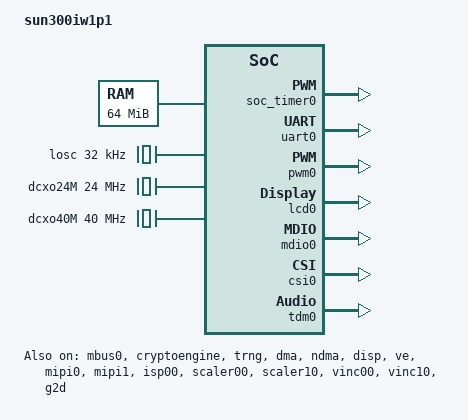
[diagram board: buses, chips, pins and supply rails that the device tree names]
// SPDX-License-Identifier: (GPL-2.0+ or MIT)
/*
 * Copyright (C) 2023 rengaomin@allwinnertech.com
 */

/memreserve/ 0x80fc0000 0x40000; /* opensbi */

#include <dt-bindings/gpio/gpio.h>
#include <dt-bindings/gpio/sun4i-gpio.h>
#include <dt-bindings/thermal/thermal.h>
#include <dt-bindings/interrupt-controller/irq.h>
#include <dt-bindings/clock/sun300iw1-aon-ccu.h>
#include <dt-bindings/clock/sun300iw1-app-ccu.h>
#include <dt-bindings/reset/sun300iw1-app-ccu.h>
#include <dt-bindings/reset/sun300iw1-prcm-ccu.h>
#include <dt-bindings/spi/sunxi-spi.h>
#include <dt-bindings/gpio/sun300iw1-share-irq-dt.h>
#include <dt-bindings/amp-timestamp/amp-timestamp-dt.h>

/ {
	model = "sun300iw1p1";
	#address-cells = <2>;
	#size-cells = <2>;

	memory {
		device_type = "memory";
		reg = <0x0 0x80000000 0x0 0x04000000>;
	};

	reserved-memory {
		#address-cells = <2>;
		#size-cells = <2>;
		ranges;

		/* global autoconfigured region for contiguous allocations */
		linux,cma {
			compatible = "shared-dma-pool";
			reusable;
			size = <0x0 0x1000000>;
			alignment = <0x0 0x2000>;
			linux,cma-default;
		};

		efuse_ram_reserved: efuse_ram@80ffff00 {
			reg = <0x0 0x80FFFF00 0x0 0x100>;
			no-map;
		};

	};

	aliases {
		serial0 = &uart0;
		serial1 = &uart1;
		serial2 = &uart2;
		serial3 = &uart3;
		twi0 = &twi0;
		twi1 = &twi1;
		twi2 = &twi2;
		gpadc0 = &gpadc0;
		spi0 = &spi0;
		spi1 = &spi1;
		spi2 = &spi2;
		spif0 = &spif0;
		gmac0 = &gmac0;
		soc_pmu0 = &soc_pmu0;
		pwm0 = &pwm0;
	};

	chosen {
		bootargs = "earlyprintk=sunxi-uart,0x42500000 loglevel=8 initcall_debug=1 console=ttyAS0 init=/init";
	};

	cpus {
		#address-cells = <1>;
		#size-cells = <0>;
		timebase-frequency = <40000000>;

		cpu0: cpu@0 {
			compatible = "riscv";
			reg = <0>;
			device_type = "cpu";
			riscv,isa = "rv32i2p0m2p0a2p0f2p0d2p0c2p0xv5-0p0";
			enable-method = "psci";
			capacity-dmips-mhz = <523>;
			i-cache-size = <0x4000>;
			i-cache-line-size = <0x40>;
			d-cache-size = <0x4000>;
			d-cache-line-size = <0x40>;
			next-level-cache = <0x1>;
			clocks = <&aon_ccu CLK_A27L2>;
			clock-latency = <2000000>;
			clock-frequency = <1080000000>;
			operating-points-v2 = <&cpu_opp_l_table>;
			#cooling-cells = <2>;
			dynamic-power-coefficient = <142>;
			status = "okay";

			cpu0_intc: interrupt-controller {
				#interrupt-cells = <0x1>;
				interrupt-controller;
				compatible = "riscv,cpu-intc";
			};
		};
	};

	cpu_opp_l_table: opp_l_table {
		compatible = "operating-points-v2";
		opp-shared;

		opp@360000000 {
			opp-hz = /bits/ 64 <360000000>;
			opp-microvolt = <900000>;
			clock-latency-ns = <244144>; /* 8 32k periods */
		};
		opp@480000000 {
			opp-hz = /bits/ 64 <480000000>;
			opp-microvolt = <900000>;
			clock-latency-ns = <244144>; /* 8 32k periods */
		};
		opp@600000000 {
			opp-hz = /bits/ 64 <600000000>;
			opp-microvolt = <900000>;
			clock-latency-ns = <244144>; /* 8 32k periods */
		};
		opp@720000000 {
			opp-hz = /bits/ 64 <720000000>;
			opp-microvolt = <900000>;
			clock-latency-ns = <244144>; /* 8 32k periods */
		};
		opp@840000000 {
			opp-hz = /bits/ 64 <840000000>;
			opp-microvolt = <900000>;
			clock-latency-ns = <244144>; /* 8 32k periods */
		};
		opp@960000000 {
			opp-hz = /bits/ 64 <960000000>;
			opp-microvolt = <900000>;
			clock-latency-ns = <244144>; /* 8 32k periods */
		};
		opp@1080000000 {
			opp-hz = /bits/ 64 <1080000000>;
			opp-microvolt = <940000>;
			clock-latency-ns = <244144>; /* 8 32k periods */
			status = "disabled";
		};
	};

	thermal-zones {
		cpu_thermal_zone: cpu_thermal_zone {
			polling-delay-passive = <500>;
			polling-delay = <1000>;
			thermal-sensors = <&ths 0>;
			sustainable-power = <68>;

			cpu_trips: trips {
				cpu_threshold: trip-point@0 {
					temperature = <70000>;
					type = "passive";
					hysteresis = <0>;
				};
				cpu_target: trip-point@1 {
					temperature = <90000>;
					type = "passive";
					hysteresis = <0>;
				};
				cpu_crit: cpu_crit@0 {
					temperature = <110000>;
					type = "critical";
					hysteresis = <0>;
				};
			};

			cooling-maps {
				map0 {
					trip = <&cpu_target>;
					cooling-device = <&cpu0
					THERMAL_NO_LIMIT
					THERMAL_NO_LIMIT>;
					contribution = <1024>;
				};
			};
		};

		ve_thermal_zone: ve_thermal_zone {
			polling-delay-passive = <1000>;
			polling-delay = <10000>;
			thermal-sensors = <&ths 1>;
		};
	};

	l2-cache@49000000 {
		compatible = "cache";
		reg = <0x0 0x49000000 0x0 0x300>;
		cache-level = <0x2>;
		cache-size = <0x20000>;
		andes,inst-prefetch = <0x3>;
		andes,data-prefetch = <0x3>;
		andes,tag-ram-ctl = <0x0 0x0>;
		andes,data-ram-ctl = <0x0 0x0>;
	};

	/* This is a virtual clk, for gpio use only */
	losc: losc_clk {
		#clock-cells = <0>;
		compatible = "fixed-clock";
		clock-frequency = <32000>;
		clock-output-names = "losc";
	};

	dcxo24M: dcxo24M_clk {
		#clock-cells = <0>;
		compatible = "fixed-clock";
		clock-frequency = <24000000>;
		clock-output-names = "dcxo24M";
	};

	dcxo40M: dcxo40M_clk {
		#clock-cells = <0>;
		compatible = "fixed-clock";
		clock-frequency = <40000000>;
		clock-output-names = "dcxo40M";
	};

	mbus0: mbus-controller@43102000 {
		compatible = "allwinner,generic-mbus";
		reg = <0x0 0x43102000 0x0 0x1000>;
		#mbus-cells = <1>;
		status = "okay";
		master_pmu_names = "pmu_cpuddr", "pmu_riscv_sys", "pmu_mahb_ddr",
		"pmu_dma_ddr", "pmu_ve_ddr", "pmu_csi_ddr", "pmu_isp_sys",
		"pmu_g2d_ddr", "pmu_de_ddr", "pmu_othddr", "pmu_totddr";
		master_pmu_idxs =<0 1 2 3 5 7 8 9 10 14 15>;
		master_port_idxs = <0 2 3 4 11 12 13 16 23 39>;
	};

	soc: soc@2002000 {
		compatible = "simple-bus";
		#address-cells = <2>;
		#size-cells = <2>;
		ranges;
		device_type = "soc";

		plic0: interrupt-controller@48000000 {
			compatible = "riscv,plic0";
			#address-cells = <0x2>;
			#interrupt-cells = <0x2>;
			interrupt-controller;
			reg = <0x0 0x48000000 0x0 0x400000>;
			riscv,ndev = <0xBB>;
			//interrupts-extended = <0x2 0xb 0x2 0x9>;
			interrupts-extended = <&cpu0_intc 0xb &cpu0_intc 0x9>;
		};

		aon_ccu: aon_ccu@4a010000{
			compatible = "allwinner,sun300iw1-aon-ccu";
			reg = <0x0 0x4a010000 0x0 0x600>;
			#clock-cells = <1>;
			#reset-cells = <1>;
			/*
			* for example:
			* sdm_info: sdm_info {
			* 	pll-video-4x {
			*      		sdm-enable = <1>; // required
			*      		sdm-factor = <4>; // required
			*      		freq-mod   = <TR_N>; // optional: default TR_N
			*      		sdm-freq   = <FREQ_32>; // optional: default FREQ_31_5
			* 	};
			* };
			*/
		};

		ccu: ccu@42001000{
			compatible = "allwinner,sun300iw1-app-ccu";
			reg = <0x0 0x42001000 0x0 0x100>;
			#clock-cells = <1>;
			#reset-cells = <1>;
		};

		prcm_ccu: prcm_ccu@4a000000{
			compatible = "allwinner,sun300iw1-prcm-ccu";
			reg = <0x0 0x4a000000 0x0 0x40>;
			sysrtc_reg = <0x0 0x4a000c00 0x0 0x10>;
			clocks = <&aon_ccu CLK_DCXO>;
			clock-names = "hosc";
			extern_32k = "disabled";
			extern_fre = <32768>;
			#clock-cells = <1>;
			#reset-cells = <1>;
		};

		soc_timer0: timer@43008000 {
			compatible = "allwinner,hstimer-v100";
			device_type = "soc_timer";
			reg = <0x0 0x43008000 0x0 0x400>;
			interrupts-extended = <&plic0 56 IRQ_TYPE_LEVEL_HIGH>;
			clocks = <&dcxo24M>, <&ccu CLK_HSTIMER>;
			clock-names = "parent", "bus";
			resets = <&ccu RST_BUS_HSTIMER>;
		};

		pio: pinctrl@42000000 {
			compatible = "allwinner,sun300iw1-pinctrl";
			reg = <0x0 0x42000000 0x0 0x500>;
			interrupts-extended = <&plic0 68 IRQ_TYPE_LEVEL_HIGH>,
				   <&plic0 72 IRQ_TYPE_LEVEL_HIGH>,
				   <&plic0 74 IRQ_TYPE_LEVEL_HIGH>;
			clocks = <&aon_ccu CLK_APB0>, <&aon_ccu CLK_DCXO>,  <&losc>;
			clock-names = "apb", "hosc", "losc";
			device_type = "pio";
			gpio-controller;
			interrupt-controller;
			#interrupt-cells = <3>;
			#address-cells = <0>;
			#gpio-cells = <3>;

			sdc0_pins_a: sdc0@0 {
				pins = "PC0", "PC1", "PC2",
						"PC3", "PC4", "PC5";
				function = "sdc0";
				allwinner,drive = <3>;
				bias-pull-up;
			};

			sdc0_pins_b: sdc0@1 {
				pins = "PC0", "PC1", "PC2",
						"PC3", "PC4", "PC5";
				function = "sdc0";
				allwinner,drive = <3>;
				bias-pull-up;
			};

			sdc0_pins_c: sdc0@2 {
				pins = "PC0", "PC1", "PC2",
						"PC3", "PC4", "PC5";
				function = "gpio_in";
			};

			sdc1_pins_a: sdc1@0 {
				pins = "PD1", "PD2", "PD3",
						"PD4", "PD5", "PD6";
				function = "sdc1";
				allwinner,drive = <3>;
				bias-pull-up;
			};

			sdc1_pins_b: sdc1@1 {
				pins = "PD1", "PD2", "PD3",
						"PD4", "PD5", "PD6";
				function = "gpio_in";
			};

			csi_mclk0_pins_a: csi_mclk0@0 {
				pins = "PA1";
				function = "mipi";
				allwinner,drive = <0>;
			};

			csi_mclk0_pins_b: csi_mclk0@1 {
				pins = "PA1";
				function = "gpio_in";
			};

			csi_mclk1_pins_a: csi_mclk1@0 {
				pins = "PA2";
				function = "mipi";
				allwinner,drive = <0>;
			};

			csi_mclk1_pins_b: csi_mclk1@1 {
				pins = "PA2";
				function = "gpio_in";
			};

			ncsi_bt656_pins_a: ncsi_BT656@0 {
				pins = "PD1", "PD3", "PD4",
				"PD5", "PD6", "PD7", "PD8",
				"PD9", "PD10", "PD11", "PD12";
				function = "ncsi";
				allwinner,drive = <0>;
			};

			ncsi_bt656_pins_b: ncsi_BT656@1 {
				pins = "PD1", "PD3", "PD4",
				"PD5", "PD6", "PD7", "PD8",
				"PD9", "PD10", "PD11", "PD12";
				function = "gpio_in";
			};

			ncsi_bt1120_pins_a: ncsi_BT1120@0 {
				pins = "PD1", "PD3", "PD4",
				"PD5", "PD6", "PD7", "PD8",
				"PD9", "PD10", "PD11", "PD12",
				"PD13", "PD14", "PD15", "PD16",
				"PD17", "PD18", "PD19", "PD20";
				function = "ncsi";
				allwinner,drive = <0>;
			};

			ncsi_bt1120_pins_b: ncsi_BT1120@1 {
				pins = "PD1", "PD3", "PD4",
				"PD5", "PD6", "PD7", "PD8",
				"PD9", "PD10", "PD11", "PD12",
				"PD13", "PD14", "PD15", "PD16",
				"PD17", "PD18", "PD19", "PD20";
				function = "gpio_in";
			};

			mipia_pins_a: mipia@0 {
				pins = "PA5", "PA6", "PA7",
					"PA8";
				function = "mipia";
				allwinner,drive = <0>;

			};

			mipia_pins_b: mipia@1 {
				pins = "PA5", "PA6", "PA7",
					"PA8";
				function = "gpio_in";
			};

			mipib_pins_a: mipib@0 {
				pins = "PA11", "PA12", "PA9",
					"PA10";
				function = "mipib";
				allwinner,drive = <0>;
			};

			mipib_pins_b: mipib@1 {
				pins = "PA11", "PA12", "PA9",
					"PA10";
				function = "gpio_in";

			};

			mipib_2lane_pins_a: mipib_2lane@0 {
				pins = "PA11", "PA12", "PA9",
					"PA10";
				function = "mipib";
				allwinner,drive = <0>;
			};

			mipib_2lane_pins_b: mipib_2lane@1 {
				pins = "PA11", "PA12", "PA9",
					"PA10";
				function = "gpio_in";
			};

			test_pins_a: test_pins@0 {
				pins = "PC12", "PC13";
				function = "test";
				allwinner,drive = <0>;
				bias-pull-up;
			};

			test_pins_b: test_pins@1 {
				pins = "PC12", "PC13";
				function = "gpio_in";
			};

			rgb8_pins_a: serial_rgb@0 {
				pins = "PD1", "PD2", "PD3", "PD4",
					"PD5", "PD6", "PD7", "PD8";
				function = "lcd";
				allwinner,drive = <1>;
			};

			rgb8_pins_b: serial_rgb@1 {
				pins = "PD1", "PD2", "PD3", "PD4",
					"PD5", "PD6", "PD7", "PD8";
				function = "io_disabled";
			};

			rgb8_pins_ctl_a: serial_rgb_ctl@0 {
				pins = "PD9", "PD10", "PD11", "PD12";
				function = "lcds_ctl";
				allwinner,drive = <1>;
			};

			rgb8_pins_ctl_b: serial_rgb_ctl@1 {
				pins = "PD9", "PD10", "PD11", "PD12";
				function = "io_disabled";
			};
		};

		rtc_pio: pinctrl@42000540 {
			#address-cells = <1>;
			compatible = "allwinner,sun300iw1-rtc-pinctrl";
			reg = <0x0 0x42000540 0x0 0x100>;
			interrupts-extended = <&plic0 84 IRQ_TYPE_LEVEL_HIGH>; /* GPIOL */
			clocks = <&dcxo24M>;
			clock-names = "hosc";
			gpio-controller;
			#gpio-cells = <3>;
			interrupt-controller;
			#interrupt-cells = <3>;
		};

		ircut:ircut@42000358 {
			compatible = "allwinner,sun300iw1-ircut";
			reg = <0x0 0x42000358 0x0 0x0004>;
			reg-names = "ircut";
		};

		pinctrl_test: pinctrl_test@0 {
			reg = <0x0 0x0 0x0 0x0>;
			compatible = "allwinner,sunxi-pinctrl-test";
			device_type = "pinctrl-test";
			/* For pin state selecting test */
			pinctrl-0 = <&test_pins_a>;
			pinctrl-1 = <&test_pins_b>;
			pinctrl-names = "default", "sleep";
			/* For pin basic_function/irq test */
			test-gpios = <&pio PC 14 GPIO_ACTIVE_LOW>;
			suspend-gpios = <&pio PC 16 GPIO_ACTIVE_LOW>;  /* PA 0 0=in/1=out drive pull level */
			wakeup-source;
			interrupt-parent = <&pio>;
			interrupts = <PA 0 IRQ_TYPE_LEVEL_HIGH>;
		};

		dump_reg:dump_reg@2000000 {
			compatible = "allwinner,sunxi-dump-reg";
			reg = <0x0 0x0002000000 0x0 0x0004>;
		};

		uart0: uart@42500000 {
			compatible = "allwinner,uart-v100";
			device_type = "uart0";
			reg = <0x0 0x42500000 0x0 0x400>;
			interrupts-extended = <&plic0 3 IRQ_TYPE_LEVEL_HIGH>;
			sunxi,uart-fifosize = <64>;
			clocks = <&ccu CLK_UART0>;
			resets = <&ccu RST_BUS_UART0>;
			uart0_port = <0>;
			uart0_type = <2>;
			status = "okay";
		};

		uart1: uart@42500400 {
			compatible = "allwinner,uart-v100";
			device_type = "uart1";
			reg = <0x0 0x42500400 0x0 0x400>;
			interrupts-extended = <&plic0 4 IRQ_TYPE_LEVEL_HIGH>;
			sunxi,uart-fifosize = <128>;
			clocks = <&ccu CLK_UART1>;
			resets = <&ccu RST_BUS_UART1>;
			uart1_port = <1>;
			uart1_type = <4>;
			status = "disabled";
		};

		uart2: uart@42500800 {
			compatible = "allwinner,uart-v100";
			device_type = "uart2";
			reg = <0x0 0x42500800 0x0 0x400>;
			interrupts-extended = <&plic0 5 IRQ_TYPE_LEVEL_HIGH>;
			sunxi,uart-fifosize = <128>;
			clocks = <&ccu CLK_UART2>;
			resets = <&ccu RST_BUS_UART2>;
			uart2_port = <2>;
			uart2_type = <4>;
			status = "disabled";
		};

		uart3: uart@42500c00 {
			compatible = "allwinner,uart-v100";
			device_type = "uart3";
			reg = <0x0 0x42500c00 0x0 0x400>;
			interrupts-extended = <&plic0 6 IRQ_TYPE_LEVEL_HIGH>;
			sunxi,uart-fifosize = <128>;
			clocks = <&ccu CLK_UART3>;
			resets = <&ccu RST_BUS_UART3>;
			uart3_port = <3>;
			uart3_type = <4>;
			status = "disabled";
		};

		sid@43006000 {
			compatible = "allwinner,sunxi-sid";
			reg = <0x0 0x43006000 0 0x1000>;
			#address-cells = <1>;
			#size-cells = <1>;
			non-secure-maxoffset = <0xFF>;
			non-secure-maxlen = <0x61>;
			memory-region = <&efuse_ram_reserved>;

			secure_status {
				reg = <0x0 0>;
				offset = <0x24c>;
				size = <0x20>;
			};
			chipid {
				reg = <0x0 0>;
				offset = <0x200>;
				size = <0x10>;
			};
			rotpk {
				reg = <0x0 0>;
				offset = <0x140>;
				size = <0x20>;
			};
			ft_cp {
				reg = <0x0 0>;
				offset = <0x23C>;
				size = <0x4>;
			};
		};

		sram_ctrl: sram_ctrl@43000000 {
			compatible = "allwinner,sram_ctrl";
			reg = <0x0 0x43000000 0 0x184>;
			soc_ver {
				offset = <0x24>;
				mask = <0x7>;
				shift = <0>;
			};
		};

		ths: ths@42009400 {
			compatible = "allwinner,sun300iw1p1-ths";
			reg = <0x0 0x42009400 0x0 0x400>;
			clocks = <&ccu CLK_BUS_THS>,<&ccu CLK_GPADC0_24M>;
			clock-names = "bus","gpadc";
			resets = <&ccu RST_BUS_THS>;
			#thermal-sensor-cells = <1>;
		};

		cryptoengine: ce@43044000 {
			compatible = "allwinner,sunxi-ce";
			device_name = "ce";
			reg = <0x0 0x43044000 0x0 0x1000>;
			interrupts-extended = <&plic0 39 IRQ_TYPE_EDGE_RISING>;
			//clock-frequency = <200000000>; /* 200MHz */
			clocks = <&ccu CLK_CE>, <&ccu CLK_SS>;
			clock-names = "bus_ce", "ce_clk";
			resets = <&ccu RST_BUS_CE>;
			dmas = <&dma 53>, <&dma 53>;
			dma-names = "tx", "rx";
			status = "okay";
		};

		trng: trng@42059000 {
			compatible = "allwinner,sunxi-trng";
			device_name = "trng";
			reg = <0x0 0x42059000 0x0 0x50>;
			clocks = <&ccu CLK_TRNG>;
			clock-names = "trng_clk";
			resets = <&ccu RST_BUS_TRNG>;
			status = "okay";
		};

		dma:dma-controller@43002000 {
			compatible = "allwinner,dma-v108";
			reg = <0x0 0x43002000 0x0 0x1000>;
			interrupts-extended = <&plic0 51 IRQ_TYPE_LEVEL_HIGH>;
			clocks = <&ccu CLK_SG_DMA>, <&ccu CLK_SGDMA>, <&ccu CLK_MBUS_DMA>;
			clock-names = "bus", "mbus-en", "mbus";
			dma-channels = <4>;
			dma-requests = <54>;
			resets = <&ccu RST_BUS_SGDMA>;
			#dma-cells = <1>;
			status = "okay";
		};

		ndma:ndma-controller@43001000 {
			compatible = "allwinner,ndma-v100";
			reg = <0x0 0x43001000 0x0 0x1000>;
			interrupts-extended = <&plic0 38 IRQ_TYPE_LEVEL_HIGH>;
			clocks = <&ccu CLK_DMA>;
			clock-names = "bus";
			dma-channels = <8>;
			dma-requests = <54>;
			resets = <&ccu RST_BUS_DMA>;
			#dma-cells = <1>;
			status = "okay";
		};

		wdt: watchdog@4a001000 {
			compatible = "allwinner,wdt-v105";
			reg = <0x0 0x4a001000 0x0 0x20>;
			resets = <&prcm_ccu RST_RTC_WDG>;
		};

		pwm0: pwm@42000c00 {
			#pwm-cells = <0x3>;
			compatible = "allwinner,sunxi-pwm-v205";
			reg = <0x0 0x42000c00 0x0 0x400>;
			clocks = <&ccu CLK_PWM>, <&aon_ccu CLK_DCXO>;
			clock-names = "bus", "clk_hosc";
			resets = <&ccu RST_BUS_PWM>;
			interrupts-extended = <&plic0 19 IRQ_TYPE_LEVEL_HIGH>;
			pwm-number = <12>;
			pwm-base = <0x0>;
			sunxi-pwms = <&pwm0_0>, <&pwm0_1>, <&pwm0_2>, <&pwm0_3>, <&pwm0_4>,
					<&pwm0_5>, <&pwm0_6>, <&pwm0_7>, <&pwm0_8>,
					<&pwm0_9>, <&pwm0_10>, <&pwm0_11>;
			status = "okay";
		};

		pwm0_0: pwm0@42000c10 {
			compatible = "allwinner,sunxi-pwm0";
			pinctrl-names = "active", "sleep";
			reg = <0x0 0x42000c10 0x0 0x4>;
			reg_base = <0x42000c00>;
			status = "disabled";
		};

		pwm0_1: pwm0@42000c11 {
			compatible = "allwinner,sunxi-pwm1";
			pinctrl-names = "active", "sleep";
			reg = <0x0 0x42000c11 0x0 0x4>;
			reg_base = <0x42000c00>;
			status = "disabled";
		};

		pwm0_2: pwm0@42000c12 {
			compatible = "allwinner,sunxi-pwm2";
			pinctrl-names = "active", "sleep";
			reg = <0x0 0x42000c12 0x0 0x4>;
			reg_base = <0x42000c00>;
			status = "disabled";
		};

		pwm0_3: pwm0@42000c13 {
			compatible = "allwinner,sunxi-pwm3";
			pinctrl-names = "active", "sleep";
			reg = <0x0 0x42000c13 0x0 0x4>;
			reg_base = <0x42000c00>;
			status = "disabled";
		};

		pwm0_4: pwm0@42000c14 {
			compatible = "allwinner,sunxi-pwm4";
			pinctrl-names = "active", "sleep";
			reg = <0x0 0x42000c14 0x0 0x4>;
			reg_base = <0x42000c00>;
			status = "disabled";
		};

		pwm0_5: pwm0@42000c15 {
			compatible = "allwinner,sunxi-pwm5";
			pinctrl-names = "active", "sleep";
			reg = <0x0 0x42000c15 0x0 0x4>;
			reg_base = <0x42000c00>;
			status = "disabled";
		};

		pwm0_6: pwm0@42000c16 {
			compatible = "allwinner,sunxi-pwm6";
			pinctrl-names = "active", "sleep";
			reg = <0x0 0x42000c16 0x0 0x4>;
			reg_base = <0x42000c00>;
			status = "disabled";
		};

		pwm0_7: pwm0@42000c17 {
			compatible = "allwinner,sunxi-pwm7";
			pinctrl-names = "active", "sleep";
			reg = <0x0 0x42000c17 0x0 0x4>;
			reg_base = <0x42000c00>;
			status = "disabled";
		};

		pwm0_8: pwm0@42000c18 {
			compatible = "allwinner,sunxi-pwm8";
			pinctrl-names = "active", "sleep";
			reg = <0x0 0x42000c18 0x0 0x4>;
			reg_base = <0x42000c00>;
			status = "disabled";
		};

		pwm0_9: pwm0@42000c19 {
			compatible = "allwinner,sunxi-pwm9";
			pinctrl-names = "active", "sleep";
			reg = <0x0 0x42000c19 0x0 0x4>;
			reg_base = <0x42000c00>;
			status = "disabled";
		};

		pwm0_10: pwm0@42000c1a {
			compatible = "allwinner,sunxi-pwm10";
			pinctrl-names = "active", "sleep";
			reg = <0x0 0x42000c1a 0x0 0x4>;
			reg_base = <0x42000c00>;
			status = "disabled";
		};

		pwm0_11: pwm0@42000c1b {
			compatible = "allwinner,sunxi-pwm11";
			pinctrl-names = "active", "sleep";
			reg = <0x0 0x42000c1b 0x0 0x4>;
			reg_base = <0x42000c00>;
			status = "disabled";
		};

		amp_ts0: amp_ts@43032000 {
			compatible = "sunxi,amp_timestamp";
			reg = <0x0 0x43032000 0x0 0x1000>;
			id = <0>;
			counter_type = <THEAD_RISCV_ARCH_COUNTER_TYPE>;
			clocks = <&aon_ccu CLK_DCXO>;
			clock-names = "ts_clk";
			status = "disabled";
		};

		mailbox_test: mailbox_test@0 {
			compatible = "mailbox-test";
			mboxes = <&msgbox 3>; /* e907 channel3 */
			mbox-names = "tx|rx";
			status = "disabled";
		};

		/*
		 * channel0~3  : e907 -> a27
		 */
		msgbox: msgbox@43033000 {
			compatible = "allwinner,sun300iw1-msgbox";
			#mbox-cells = <1>;
			reg = <0x0 0x43033000 0x0 0x1000>,
				<0x0 0x49102000 0x0 0x1000>;
			interrupts-extended = <&plic0 130 IRQ_TYPE_LEVEL_HIGH>,
						<&plic0 123 IRQ_TYPE_LEVEL_HIGH>;
			clocks = <&ccu CLK_A27_MSGBOX>;
			clock-names = "msgbox";
			resets = <&ccu RST_BUS_A27_MSGBOX>;
			reset-names = "rst";
			local_id = <1>;
			status = "disabled";
		};

		hwspinlock: hwspinlock@43005000 {
			compatible = "allwinner,sunxi-hwspinlock";
			reg = <0x0 0x43005000 0x0 0x1000>;
			interrupts-extended = <&plic0 55 IRQ_TYPE_LEVEL_HIGH>;
			#hwlock-cells = <1>;
			clocks = <&ccu CLK_SPLOCK>;
			clock-names = "clk_hwspinlock_bus";
			resets = <&ccu RST_BUS_SPLOCK>;
			reset-names = "rst";
			num-locks = <32>;
			status = "disabled";
		};

		twi0: twi0@42502000 {
			compatible = "allwinner,sunxi-twi-v101";
			device_type = "twi0";
			reg = <0x0 0x42502000 0x0 0x400>;
			interrupts-extended = <&plic0 10 IRQ_TYPE_LEVEL_HIGH>;
			clocks = <&ccu CLK_TWI0>, <&aon_ccu CLK_APB_SPC>;
			clock-names = "bus", "apb";
			resets = <&ccu RST_BUS_TWI0>;
			dmas = <&dma 43>, <&dma 43>;
			dma-names = "tx", "rx";
			status = "disabled";
		};

		twi1: twi1@42502400 {
			compatible = "allwinner,sunxi-twi-v101";
			device_type = "twi1";
			reg = <0x0 0x42502400 0x0 0x400>;
			interrupts-extended = <&plic0 11 IRQ_TYPE_LEVEL_HIGH>;
			clocks = <&ccu CLK_TWI1>, <&aon_ccu CLK_APB_SPC>;
			clock-names = "bus", "apb";
			resets = <&ccu RST_BUS_TWI1>;
			dmas = <&dma 44>, <&dma 44>;
			dma-names = "tx", "rx";
			status = "disabled";
		};

		twi2: twi2@42502800 {
			compatible = "allwinner,sunxi-twi-v101";
			device_type = "twi2";
			reg = <0x0 0x42502800 0x0 0x400>;
			interrupts-extended = <&plic0 12 IRQ_TYPE_LEVEL_HIGH>;
			clocks = <&ccu CLK_TWI2>, <&aon_ccu CLK_APB_SPC>;
			clock-names = "bus", "apb";
			resets = <&ccu RST_BUS_TWI2>;
			dmas = <&dma 45>, <&dma 45>;
			dma-names = "tx", "rx";
			status = "disabled";
		};

		spi0: spi@44025000 {
			#address-cells = <1>;
			#size-cells = <0>;
			compatible = "allwinner,sunxi-spi-v1.1";
			reg = <0x0 0x44025000 0x0 0x1000>;
			interrupts-extended = <&plic0 16 IRQ_TYPE_LEVEL_HIGH>;
			clocks = <&aon_ccu CLK_PLL_PERI_CKO_307M>, <&ccu CLK_SPI>, <&ccu CLK_BUS_SPI>;
			clock-names = "pll", "mod", "bus";
			resets = <&ccu RST_BUS_SPI>;
			dmas = <&dma 22>, <&dma 22>;
			dma-names = "tx", "rx";
			clock-frequency = <100000000>;
			sunxi,spi-num-cs = <1>;
			status = "disabled";
		};

		spi1: spi@44026000 {
			#address-cells = <1>;
			#size-cells = <0>;
			compatible = "allwinner,sunxi-spi-v1.2";
			reg = <0x0 0x44026000 0x0 0x1000>;
			interrupts-extended = <&plic0 17 IRQ_TYPE_LEVEL_HIGH>;
			clocks = <&aon_ccu CLK_PLL_PERI_CKO_307M>, <&ccu CLK_SPI1>, <&ccu CLK_BUS_SPI1>;
			clock-names = "pll", "mod", "bus";
			resets = <&ccu RST_BUS_SPI1>;
			dmas = <&dma 23>, <&dma 23>;
			dma-names = "tx", "rx";
			clock-frequency = <100000000>;
			sunxi,spi-num-cs = <2>;
			status = "disabled";
		};

		spi2: spi@44027000 {
			#address-cells = <1>;
			#size-cells = <0>;
			compatible = "allwinner,sunxi-spi-v1.5";
			reg = <0x0 0x44027000 0x0 0x1000>;
			interrupts-extended = <&plic0 18 IRQ_TYPE_LEVEL_HIGH>;
			clocks = <&aon_ccu CLK_PLL_PERI_CKO_307M>, <&ccu CLK_SPI2>, <&ccu CLK_BUS_SPI2>, <&aon_ccu CLK_AHB>;
			clock-names = "pll", "mod", "bus", "ahb";
			resets = <&ccu RST_BUS_SPI2>;
			dmas = <&dma 24>, <&dma 24>;
			dma-names = "tx", "rx";
			clock-frequency = <100000000>;
			sunxi,spi-num-cs = <1>;
			status = "disabled";
		};

		spif0: spif@44f00000 {
			#address-cells = <1>;
			#size-cells = <0>;
			compatible = "allwinner,sun300i-spif";
			device_type = "spif";
			reg = <0x0 0x44f00000 0x0 0x1000>;
			interrupts-extended = <&plic0 20 IRQ_TYPE_LEVEL_HIGH>;
			clocks = <&aon_ccu CLK_PLL_PERI_CKO_384M>, <&ccu CLK_SPIF>, <&ccu CLK_BUS_SPIF>;
			clock-names = "pclk", "mclk", "bus";
			resets = <&ccu RST_BUS_SPIF>;
			status = "disabled";
		};

		sdc0: sdmmc@44020000 {
			compatible = "allwinner,sunxi-mmc-v5p3x";
			device_type = "sdc0";
			reg = <0x0 0x44020000 0x0 0x1000>;
			interrupts-extended = <&plic0 41 IRQ_TYPE_LEVEL_HIGH>;
			clocks = <&aon_ccu CLK_DCXO>,
				<&aon_ccu CLK_PLL_PERI_CKO_192M>,
				<&aon_ccu CLK_PLL_PERI_CKO_219M>,
				<&ccu CLK_SMHC0>,
				<&ccu CLK_BUS_SMHC0>,
				<&ccu CLK_MBUS_SMHC0>;
			clock-names = "osc24m","pll_periph","pll_periph_2","mmc","ahb","mmc_mbus";
			resets = <&ccu RST_BUS_SMHC0>;
			reset-names = "rst";
			pinctrl-names = "default","mmc_1v8","sleep";
			pinctrl-0 = <&sdc0_pins_a>;
			pinctrl-1 = <&sdc0_pins_b>;
			pinctrl-2 = <&sdc0_pins_c>;
			/*pinctrl-3 = <&sdc0_pins_d &sdc0_pins_e>;*/
			max-frequency = <50000000>;
			bus-width = <4>;
			req-page-count = <2>;
			/*non-removable;*/
			/*broken-cd;*/
			/*cd-inverted*/
			/*cd-gpios = <&pio PF 6 GPIO_ACTIVE_LOW>;*/
			/* vmmc-supply = <&reg_3p3v>;*/
			/* vqmc-supply = <&reg_3p3v>;*/
			/* vdmc-supply = <&reg_3p3v>;*/
			/*vmmc = "vcc-card";*/
			/*vqmc = "";*/
			/*vdmc = "";*/
			cap-sd-highspeed;
			cap-wait-while-busy;
			/*sd-uhs-sdr50;*/
			/*sd-uhs-ddr50;*/
			/*cap-sdio-irq;*/
			/*keep-power-in-suspend;*/
			/*ignore-pm-notify;*/
			/*sunxi-power-save-mode;*/
			/*sunxi-dly-400k = <1 0 0 0>; */
			/*sunxi-dly-26M  = <1 0 0 0>;*/
			/*sunxi-dly-52M  = <1 0 0 0>;*/
			/*sunxi-dly-52M-ddr4  = <1 0 0 0>;*/
			/*sunxi-dly-52M-ddr8  = <1 0 0 0>;*/
			/*sunxi-dly-104M  = <1 0 0 0>;*/
			/*sunxi-dly-208M  = <1 0 0 0>;*/
			/*sunxi-dly-104M-ddr  = <1 0 0 0>;*/
			/*sunxi-dly-208M-ddr  = <1 0 0 0>;*/
			ctl-spec-caps = <0x428>;
			status = "disabled";
		};

		sdc1: sdmmc@44021000 {
			compatible = "allwinner,sunxi-mmc-v5p3x";
			device_type = "sdc1";
			reg = <0x0 0x44021000 0x0 0x1000>;
			interrupts-extended = <&plic0 42 IRQ_TYPE_LEVEL_HIGH>;
			clocks = <&aon_ccu CLK_DCXO>,
				<&aon_ccu CLK_PLL_PERI_CKO_192M>,
				<&aon_ccu CLK_PLL_PERI_CKO_219M>,
				<&ccu CLK_SMHC1>,
				<&ccu CLK_BUS_SMHC1>,
				<&ccu CLK_MBUS_SMHC1>;
			clock-names = "osc24m","pll_periph","pll_periph_2","mmc","ahb","mmc_mbus";
			resets = <&ccu RST_BUS_SMHC1>;
			reset-names = "rst";
			pinctrl-names = "default","sleep";
			pinctrl-0 = <&sdc1_pins_a>;
			pinctrl-1 = <&sdc1_pins_b>;
			max-frequency = <50000000>;
			bus-width = <4>;
			/*broken-cd;*/
			/*cd-inverted*/
			/*cd-gpios = <&pio PG 6 6 1 2 0>;*/
			/* vmmc-supply = <&reg_3p3v>;*/
			/* vqmc-supply = <&reg_3p3v>;*/
			/* vdmc-supply = <&reg_3p3v>;*/
			/*vmmc = "vcc-card";*/
			/*vqmc = "";*/
			/*vdmc = "";*/
			cap-sd-highspeed;
			cap-sdio-irq;
			ignore-pm-notify;
			/*sd-uhs-sdr50;*/
			/*sd-uhs-ddr50;*/
			/*sd-uhs-sdr104;*/
			/*cap-sdio-irq;*/
			keep-power-in-suspend;
			/*ignore-pm-notify;*/
			/*sunxi-power-save-mode;*/
			/*sunxi-dly-400k = <0xff 0xff 0xff 0xff 0xff 0xff>; */
			/*sunxi-dly-26M  = <0xff 0xff 0xff 0xff 0xff 0xff>;*/
			/*sunxi-dly-52M  = <0xff 0xff 0xff 0xff 0xff 0xff>;*/
			/*sunxi-dly-52M-ddr4  = <0xff 0xff 0xff 0xff 0xff 0xff>;*/
			/*sunxi-dly-52M-ddr8  = <0xff 0xff 0xff 0xff 0xff 0xff>;*/
			/*sunxi-dly-104M  = <0xff 0xff 0xff 0xff 0xff 0xff>;*/
			/*sunxi-dly-208M  = <0xff 0xff 0xff 0xff 0xff 0xff> ;*/
			/*sunxi-dly-104M-ddr  = <0xff 0xff 0xff 0xff 0xff 0xff>;*/
			/*sunxi-dly-208M-ddr  = <0xff 0xff 0xff 0xff 0xff 0xff>;*/
			sunxi-dly-208M  = <0xff 0x1 0xff 0xff 0xff 0xff>;
			ctl-spec-caps = <0x428>;
			status = "disabled";
		};

		rtc: rtc@4a000c00 {
			compatible = "allwinner,rtc-v203";
			device_type = "rtc";
			wakeup-source;
			reg = <0x0 0x4a000c00 0x0 0x3ff>;
			interrupts-extended = <&plic0 167 IRQ_TYPE_LEVEL_HIGH>;
			clocks = <&ccu CLK_RTC_APB>;
			clock-names = "r-ahb-rtc";
			gpr_cur_pos = <6>;
			gpr_bootcount_pos = <7>;
			gprcm_reg = <0x0 0x4a000000 0x0 0x20>;
		};

		gpadc0: gpadc0@42009000 {
			compatible = "allwinner,sunxi-gpadc-v104";
			reg = <0x0 0x42009000 0x0 0x400>;
			interrupts-extended = <&plic0 58 IRQ_TYPE_LEVEL_HIGH>;
			clocks = <&ccu CLK_GPA>, <&ccu CLK_GPADC0_24M>;
			clock-names = "bus", "hosc";
			resets = <&ccu RST_BUS_GPADC>;
			reset-names = "bus";
			status = "disabled";
		};

		disp: disp@45000000 {
			compatible = "allwinner,sunxi-disp";
			reg = <0x0 0x45000000 0x0 0x00300000>,/* de */
				<0x0 0x45460000 0x0 0x1000>,/* disp sys */
				<0x0 0x45461000 0x0 0x1000>;/* tcon0 */
			interrupts-extended =
				<&plic0 88 IRQ_TYPE_LEVEL_HIGH>, /* de_irq(wb) */
				<&plic0 91 IRQ_TYPE_LEVEL_HIGH>; /* tcon0_irq */
			clocks = <&ccu CLK_DE>,
				<&ccu CLK_BUS_DE>,
				<&ccu CLK_DE_HB>,
				<&ccu CLK_VID_OUT>,
				<&ccu CLK_MBUS_VID_OUT>,
				<&ccu CLK_BUS_DPSS_TOP>,
				<&ccu CLK_TCONLCD>,
				<&ccu CLK_BUS_TCON>;
			clock-names = "clk_de0",
				"clk_bus_de0",
				"clk_de_hb",
				"clk_disp_ahb",
				"clk_disp_mbus",
				"clk_bus_dpss_top0",
				"clk_tcon0",
				"clk_bus_tcon0";
			resets = <&ccu RST_BUS_DE>,
				<&ccu RST_BUS_DPSSTOP>,
				<&ccu RST_BUS_TCONLCD>,
				<&ccu RST_BUS_TCON>;
			reset-names = "rst_bus_de0",
				"rst_bus_dpss_top0",
				"rst_bus_tcon0",
				"rst_bus_tcon_bus0";
			assigned-clocks = <&ccu CLK_DE>;
			assigned-clock-parents = <&aon_ccu CLK_PLL_VIDEO_1X>;
			assigned-clock-rates = <150000000>;
			boot_disp = <0>;
			fb_base = <0>;
			status = "okay";
		};

		lcd0: lcd0@5461000 {
			compatible = "allwinner,sunxi-lcd0";
			pinctrl-names = "active","sleep";

			status = "okay";
		};

		mdio0: mdio@44500048 {
			compatible = "allwinner,sunxi-mdio";
			#address-cells = <1>;
			#size-cells = <0>;
			reg = <0x0 0x44500048 0x0 0x8>;
			status = "okay";
		};

		gmac0: gmac@44500000 {
			compatible = "allwinner,sunxi-gmac";
			reg = <0x0 0x44500000 0x0 0x1000>,
			      <0x0 0x43000030 0x0 0x160>;
			interrupts-extended = <&plic0 47 IRQ_TYPE_LEVEL_HIGH>;
			interrupt-names = "gmacirq";
			clocks = <&ccu CLK_BUS_GMAC>, <&ccu CLK_GMAC_25M>, <&ccu CLK_HBUS_GMAC>, <&ccu CLK_MBUS_GMAC>;
			clock-names = "gmac", "phy25m", "hbus", "mbus";
			resets = <&ccu RST_BUS_GMAC>;
			/*
			 * max-mtu < tx_fifo - head_size
			 * tx_fifo: 1024 (platform-dependent)
			 * head_size: 18 (fixed)
			 */
			max-mtu = <950>;
			status = "disabled";
		};

		rt_media: rt-media@41c0e000 {
			compatible = "allwinner,rt-media";
		};

		ve: ve@41c0e000 {
			compatible = "allwinner,sunxi-cedar-ve";
			reg = <0x0 0x41c0e000 0x0 0x2000>,	/* VE */
			      <0x0 0x43000000 0x0 0x10>,	/* SYSCFG */
			      <0x0 0x45830000 0x0 0x1000>,	/* csi dma0 */
			      <0x0 0x45831000 0x0 0x1000>;	/* csi dma1 */
			interrupts-extended = <&plic0 67 IRQ_TYPE_LEVEL_HIGH>;
			clocks = <&aon_ccu CLK_PLL_PERI_CKO_768M>, <&ccu CLK_BUS_VE_AHB>,
				 <&ccu CLK_MBUS_VE>,
				 <&ccu CLK_SBUS_VE>,
				 <&ccu CLK_HBUS_VE>,
				 <&ccu CLK_VE>;
			clock-names = "pll_ve","bus_ve", "mbus_ve", "sbus_ve", "hbus_ve", "ve";
			resets = <&ccu RST_BUS_VE>;
			reset-names = "reset_ve";
			status = "okay";
		};

		vind0: vind@45800800 {
			compatible = "allwinner,sunxi-vin-media", "simple-bus";
			#address-cells = <2>;
			#size-cells = <2>;
			ranges;
			device_id = <0>;
			csi_top = <230000000>;
			csi_isp = <230000000>;
			reg = <0x0 0x45800800 0x0 0x200>,
				<0x0 0x45800000 0x0 0x800>,
				<0x0 0x45810000 0x0 0x100>;
			interrupts-extended = <&plic0 107 IRQ_TYPE_LEVEL_HIGH>;
			clocks = <&ccu CLK_MCSI>, <&aon_ccu CLK_PLL_VIDEO_4X>,
				<&ccu CLK_CSI_MASTER0>, <&aon_ccu CLK_PLL_PERI_CKO_24M>, <&aon_ccu CLK_PLL_CSI_4X>,
				<&ccu CLK_CSI_MASTER1>, <&aon_ccu CLK_PLL_PERI_CKO_24M>, <&aon_ccu CLK_PLL_CSI_4X>,
				<&ccu CLK_HBUS_MCSI>, <&ccu CLK_SBUS_MCSI>, <&ccu CLK_BUS_MISP>,
				<&ccu CLK_MCSI_AHB>, <&ccu CLK_MBUS_MCSI>, <>;
			clock-names = "csi_top", "csi_top_src",
						"csi_mclk0", "csi_mclk0_24m", "csi_mclk0_pll",
						"csi_mclk1", "csi_mclk1_24m", "csi_mclk1_pll",
						"csi_hbus", "csi_sbus", "isp_sbus",
						"csi_bus", "csi_mbus", "csi_isp_mbus";
			resets = <&ccu RST_BUS_MCSI>, <>;
			reset-names = "csi_ret", "isp_ret";
			pinctrl-names = "mclk0-default", "mclk0-sleep", "mclk1-default", "mclk1-sleep";
			pinctrl-0 = <&csi_mclk0_pins_a>;
			pinctrl-1 = <&csi_mclk0_pins_b>;
			pinctrl-2 = <&csi_mclk1_pins_a>;
			pinctrl-3 = <&csi_mclk1_pins_b>;
			//power-domains = <&p >;
			status = "okay";

			csi0: csi@45820000 {
				compatible = "allwinner,sunxi-csi";
				reg = <0x0 0x45820000 0x0 0x1000>;
				interrupts-extended = <&plic0 101 IRQ_TYPE_LEVEL_HIGH>;
				device_id = <0>;
				status = "okay";
			};
			csi1: csi@45821000 {
				compatible = "allwinner,sunxi-csi";
				reg = <0x0 0x45821000 0x0 0x1000>;
				interrupts-extended = <&plic0 102 IRQ_TYPE_LEVEL_HIGH>;
				pinctrl-names = "default","sleep";
				pinctrl-0 = <&ncsi_bt656_pins_a>;
				pinctrl-1 = <&ncsi_bt656_pins_b>;
				device_id = <1>;
				status = "disabled";
			};
			mipi0: mipi@45810100 {
				compatible = "allwinner,sunxi-mipi";
				reg = <0x0 0x45810100 0x0 0x100>,
					<0x0 0x45811000 0x0 0x400>;
				interrupts-extended = <&plic0 105 IRQ_TYPE_LEVEL_HIGH>;
				pinctrl-names = "mipi0-default","mipi0-sleep",
								"mipi1-2lane-default","mipi1-2lane-sleep";
				pinctrl-0 = <&mipia_pins_a>;
				pinctrl-1 = <&mipia_pins_b>;
				pinctrl-2 = <&mipib_2lane_pins_a>;
				pinctrl-3 = <&mipib_2lane_pins_b>;
				device_id = <0>;
				status = "okay";
			};
			mipi1: mipi@45810200 {
				compatible = "allwinner,sunxi-mipi";
				reg = <0x0 0x45810200 0x0 0x100>,
					<0x0 0x45811400 0x0 0x400>;
				pinctrl-names = "mipi1-default","mipi1-sleep";
				pinctrl-0 = <&mipib_pins_a>;
				pinctrl-1 = <&mipib_pins_b>;
				device_id = <1>;
				status = "okay";
			};
			tdm0: tdm@45908000 {
				compatible = "allwinner,sunxi-tdm";
				reg = <0x0 0x45908000 0x0 0x400>;
				interrupts-extended = <&plic0 106 IRQ_TYPE_LEVEL_HIGH>;
				work_mode = <0x0>;
				device_id = <0>;
				status = "okay";
			};
			isp00:isp@45900000 {
				compatible = "allwinner,sunxi-isp";
				reg = <0x0 0x45900000 0x0 0x1300>,
					<0x0 0x43000000 0x0 0x10>;
				interrupts-extended = <&plic0 109 IRQ_TYPE_LEVEL_HIGH>;
				work_mode = <0x0>;
				device_id = <0>;
				status = "okay";
			};
			isp01:isp@458ffffc {
				compatible = "allwinner,sunxi-isp";
				reg = <0x0 0x458ffffc 0x0 0x1304>;
				interrupts-extended = <&plic0 110 IRQ_TYPE_LEVEL_HIGH>;
				work_mode = <0xff>;
				device_id = <1>;
				status = "disabled";
			};
			isp10:isp@4 {
				compatible = "allwinner,sunxi-isp";
				device_id = <4>;
				status = "disabled";
			};
			scaler00:scaler@45910000 {
				compatible = "allwinner,sunxi-scaler";
				reg = <0x0 0x45910000 0x0 0x400>;
				interrupts-extended = <&plic0 113 IRQ_TYPE_LEVEL_HIGH>;
				work_mode = <0x0>;
				device_id = <0>;
				status = "okay";
			};
			scaler01:scaler@4590fffc {
				compatible = "allwinner,sunxi-scaler";
				reg = <0x0 0x4590fffc 0x0 0x404>;
				work_mode = <0xff>;
				device_id = <1>;
				status = "disabled";
			};
			scaler10:scaler@45910400 {
				compatible = "allwinner,sunxi-scaler";
				reg = <0x0 0x45910400 0x0 0x400>;
				interrupts-extended = <&plic0 114 IRQ_TYPE_LEVEL_HIGH>;
				work_mode = <0x0>;
				device_id = <4>;
				status = "okay";
			};
			scaler11:scaler@459103fc {
				compatible = "allwinner,sunxi-scaler";
				reg = <0x0 0x459103fc 0x0 0x404>;
				work_mode = <0xff>;
				device_id = <5>;
				status = "disabled";
			};
			actuator0: actuator@2108180 {
				compatible = "allwinner,sunxi-actuator";
				device_type = "actuator0";
				reg = <0x0 0x02108180 0x0 0x10>;
				actuator0_name = "ad5820_act";
				actuator0_slave = <0x18>;
				actuator0_af_pwdn = <>;
				actuator0_afvdd = "afvcc-csi";
				actuator0_afvdd_vol = <2800000>;
				status = "disabled";
			};
			flash0: flash@2108190 {
				device_type = "flash0";
				compatible = "allwinner,sunxi-flash";
				reg = <0x0 0x02108190 0x0 0x10>;
				flash0_type = <2>;
				flash0_en = <>;
				flash0_mode = <>;
				flash0_flvdd = "";
				flash0_flvdd_vol = <>;
				device_id = <0>;
				status = "disabled";
			};
			sensor0: sensor@5812000 {
				reg = <0x0 0x05812000 0x0 0x10>;
				device_type = "sensor0";
				compatible = "allwinner,sunxi-sensor";
				sensor0_mname = "ov5640";
				sensor0_twi_cci_id = <2>;
				sensor0_twi_addr = <0x78>;
				sensor0_mclk_id = <0>;
				sensor0_pos = "rear";
				sensor0_isp_used = <0>;
				sensor0_fmt = <0>;
				sensor0_stby_mode = <0>;
				sensor0_vflip = <0>;
				sensor0_hflip = <0>;
				sensor0_iovdd-supply = <>;
				sensor0_iovdd_vol = <>;
				sensor0_avdd-supply = <>;
				sensor0_avdd_vol = <>;
				sensor0_dvdd-supply = <>;
				sensor0_dvdd_vol = <>;
				sensor0_power_en = <>;
				sensor0_reset = <>;
				sensor0_pwdn = <>;
				sensor0_sm_vs = <>;
				flash_handle = <&flash0>;
				act_handle = <&actuator0>;
				device_id = <0>;
				status	= "disabled";
			};
			sensor1: sensor@5812010 {
				reg = <0x0 0x05812010 0x0 0x10>;
				device_type = "sensor1";
				compatible = "allwinner,sunxi-sensor";
				sensor1_mname = "ov5647";
				sensor1_twi_cci_id = <3>;
				sensor1_twi_addr = <0x6c>;
				sensor1_mclk_id = <1>;
				sensor1_pos = "front";
				sensor1_isp_used = <0>;
				sensor1_fmt = <0>;
				sensor1_stby_mode = <0>;
				sensor1_vflip = <0>;
				sensor1_hflip = <0>;
				sensor1_iovdd-supply = <>;
				sensor1_iovdd_vol = <>;
				sensor1_avdd-supply = <>;
				sensor1_avdd_vol = <>;
				sensor1_dvdd-supply = <>;
				sensor1_dvdd_vol = <>;
				sensor1_power_en = <>;
				sensor1_reset = <>;
				sensor1_pwdn = <>;
				sensor1_sm_vs = <>;
				flash_handle = <>;
				act_handle = <>;
				device_id = <1>;
				status	= "disabled";
			};
			sensor_list0:sensor_list@200b820 {
				reg = <0x0 0x0200b820 0x0 0x10>;
				device_type = "sensor_list0";
				compatible = "allwinner,sunxi-sensor-list";
				csi_sel = <0>;
				sensor00_mname = "gc5035_mipi";
				sensor00_twi_addr = <0x6c>;
				sensor00_type = <1>;
				sensor00_hflip =  <0>;
				sensor00_vflip = <0>;
				sensor00_act_used = <1>;
				sensor00_act_name = "";
				sensor00_act_twi_addr = <>;
				sensor01_mname = "ov5675_mipi";
				sensor01_twi_addr = <0x6c>;
				sensor01_type = <1>;
				sensor01_hflip =  <0>;
				sensor01_vflip = <0>;
				sensor01_act_used = <1>;
				sensor01_act_name = "dw9714_act";
				sensor01_act_twi_addr = <0x18>;
				sensor02_mname = "sp5409_mipi";
				sensor02_twi_addr = <0x78>;
				sensor02_type = <1>;
				sensor02_hflip =  <0>;
				sensor02_vflip = <0>;
				sensor02_act_used = <0>;
				sensor02_act_name = "dw9714_act";
				sensor02_act_twi_addr = <0x18>;
				device_id = <0>;
				status	= "disabled";
			};
			sensor_list1:sensor_list@200b830 {
				reg = <0x0 0x0200b830 0x0 0x10>;
				device_type = "sensor_list1";
				compatible = "allwinner,sunxi-sensor-list";
				csi_sel = <0>;
				sensor10_mname = "gc02m2_mipi";
				sensor10_twi_addr = <0x20>;
				sensor10_type = <1>;
				sensor10_hflip =  <0>;
				sensor10_vflip = <0>;
				sensor10_act_used = <1>;
				sensor10_act_name = "dw9714_act";
				sensor10_act_twi_addr = <0x18>;
				sensor11_mname = "ov02a10_mipi";
				sensor11_twi_addr = <0x7a>;
				sensor11_type = <1>;
				sensor11_hflip =  <1>;
				sensor11_vflip = <0>;
				sensor11_act_used = <0>;
				sensor11_act_name = "";
				sensor11_act_twi_addr = <>;
				sensor12_mname = "gc030a_mipi";
				sensor12_twi_addr = <0x42>;
				sensor12_type = <1>;
				sensor12_hflip =  <0>;
				sensor12_vflip = <0>;
				sensor12_act_used = <0>;
				sensor12_act_name = "";
				sensor12_act_twi_addr = <>;
				device_id = <1>;
				status	= "disabled";
			};
			vinc00:vinc@45830000 {
				device_type = "vinc0";
				compatible = "allwinner,sunxi-vin-core";
				reg = <0x0 0x45830000 0x0 0x1000>;
				interrupts-extended = <&plic0 96 IRQ_TYPE_LEVEL_HIGH>;
				vinc0_csi_sel = <1>;
				vinc0_mipi_sel = <0xff>;
				vinc0_isp_sel = <0>;
				vinc0_isp_tx_ch = <0>;
				vinc0_tdm_rx_sel = <0>;
				vinc0_rear_sensor_sel = <0>;
				vinc0_front_sensor_sel = <0>;
				vinc0_sensor_list = <0>;
				device_id = <0>;
				work_mode = <0x0>;
				status = "okay";
			};
			vinc01:vinc@4582fffc {
				device_type = "vinc1";
				compatible = "allwinner,sunxi-vin-core";
				reg = <0x0 0x4582fffc 0x0 0x1004>;
				vinc1_csi_sel = <0>;
				vinc1_mipi_sel = <0xff>;
				vinc1_isp_sel = <1>;
				vinc1_isp_tx_ch = <0>;
				vinc1_tdm_rx_sel = <1>;
				vinc1_rear_sensor_sel = <1>;
				vinc1_front_sensor_sel = <1>;
				vinc1_sensor_list = <0>;
				device_id = <1>;
				work_mode = <0xff>;
				status = "disabled";
			};
			vinc10:vinc@45831000 {
				device_type = "vinc4";
				compatible = "allwinner,sunxi-vin-core";
				reg = <0x0 0x45831000 0x0 0x1000>;
				interrupts-extended = <&plic0 97 IRQ_TYPE_LEVEL_HIGH>;
				vinc4_csi_sel = <1>;
				vinc4_mipi_sel = <0xff>;
				vinc4_isp_sel = <0>;
				vinc4_isp_tx_ch = <0>;
				vinc4_tdm_rx_sel = <0>;
				vinc4_rear_sensor_sel = <0>;
				vinc4_front_sensor_sel = <0>;
				vinc4_sensor_list = <0>;
				device_id = <4>;
				work_mode = <0x0>;
				status = "okay";
			};
			vinc11:vinc@45830ffc {
				device_type = "vinc5";
				compatible = "allwinner,sunxi-vin-core";
				reg = <0x0 0x45830ffc 0x0 0x1004>;
				vinc5_csi_sel = <0>;
				vinc5_mipi_sel = <0xff>;
				vinc5_isp_sel = <1>;
				vinc5_isp_tx_ch = <0>;
				vinc5_tdm_rx_sel = <1>;
				vinc5_rear_sensor_sel = <1>;
				vinc5_front_sensor_sel = <1>;
				vinc5_sensor_list = <0>;
				device_id = <5>;
				work_mode = <0xff>;
				status = "disabled";
			};
		};

		usbc0:usbc0@0 {
			device_type = "usbc0";
			compatible = "allwinner,sunxi-otg-manager";
			usb_port_type = <2>;
			usb_detect_type = <1>;
			usb_id_gpio;
			usb_det_vbus_gpio;
			usb_drv_vbus_gpio;
			usb_host_init_state = <0>;
			usb_regulator_io = "nocare";
			usb_wakeup_suspend = <0>;
			usb_luns = <3>;
			usb_serial_unique = <0>;
			usb_serial_number = "20080411";
			rndis_wceis = <1>;
			/* wakeup-source; */
			status = "disabled";
		};

		udc:udc-controller@44100000 {
			compatible = "allwinner,sunxi-udc";
			reg = <0x0 0x44100000 0x0 0x1000>,
			      <0x0 0x00000000 0x0 0x100>;
			interrupts-extended = <&plic0 30 IRQ_TYPE_LEVEL_HIGH>;
			clocks = <&ccu CLK_USB_24M>, <&ccu CLK_USBOTG>, <&ccu CLK_USB>, <&ccu CLK_MBUS_USB>, <&aon_ccu CLK_DCXO>;
			clock-names = "hosc", "bus_otg", "clk_usb", "mbus", "clk_rate";
			resets = <&ccu RST_BUS_USBOTG>, <&ccu RST_BUS_USBPHY>, <&ccu RST_BUS_USB>;
			reset-names = "otg", "phy", "usb_rst";
			status = "disabled";
		};

		ehci0:ehci0-controller@44101000 {
			compatible = "allwinner,sunxi-ehci0";
			reg = <0x0 0x44101000 0x0 0xFFF>,
			      <0x0 0x00000000 0x0 0x100>,
			      <0x0 0x44100000 0x0 0x1000>;
			interrupts-extended = <&plic0 31 IRQ_TYPE_LEVEL_HIGH>;
			clocks = <&ccu CLK_USB_24M>, <&ccu CLK_USBEHCI>, <&ccu CLK_MBUS_USB>, <&ccu CLK_USB>, <&aon_ccu CLK_DCXO>;
			clock-names = "hosc", "bus_hci", "mbus", "hclk", "clk_rate";
			resets = <&ccu RST_BUS_USBEHCI>, <&ccu RST_BUS_USBPHY>, <&ccu RST_BUS_USB>;
			reset-names = "hci", "phy", "usb_rst";
			hci_ctrl_no = <0>;
			status = "disabled";
		};

		ohci0:ohci0-controller@44101400 {
			compatible = "allwinner,sunxi-ohci0";
			reg = <0x0 0x44101400 0x0 0xFFF>,
			      <0x0 0x00000000 0x0 0x100>,
			      <0x0 0x44100000 0x0 0x1000>;
			interrupts-extended = <&plic0 32 IRQ_TYPE_LEVEL_HIGH>;
			clocks = <&ccu CLK_USB_12M>, <&ccu CLK_USBOHCI>, <&ccu CLK_USB>, <&ccu CLK_USB_48M>, <&aon_ccu CLK_DCXO>;
			clock-names = "hosc", "bus_hci", "ohci", "mbus", "clk_rate";
			resets = <&ccu RST_BUS_USBOHCI>, <&ccu RST_BUS_USBPHY>, <&ccu RST_BUS_USB>;
			reset-names = "hci", "phy", "usb_rst";
			hci_ctrl_no = <0>;
			status = "disabled";
		};

		e907_rproc: e907_rproc@43030000 {
			compatible = "allwinner,e907-rproc";

			reg = <0x0 0x43030000 0x0 0x1000>,
					<0x0 0x43031000 0x0 0x400>;
			reg-names = "rv-cfg", "rproc_wdt_reg";
			interrupts = <&plic0 131 IRQ_TYPE_LEVEL_HIGH>;
			interrupt-names = "rproc_wdt_irq";
			core-clock-frequency = <614400000>;

			clocks = <&aon_ccu CLK_PLL_PERI_CKO_614M>, <&ccu CLK_RISCV>, <&aon_ccu CLK_E907>, <&ccu CLK_E907_TS>;
			clock-names = "input", "core-gate", "core-div", "rv-ts-gate";
			resets = <&ccu RST_BUS_RV>, <&ccu RST_BUS_RV_SYS_APB>, <&ccu RST_BUS_E907>;
			reset-names = "rv-cfg-rst", "rv-sys-rst", "core-rst";

			status = "disabled";
		};

		g2d: g2d@45410000 {
			compatible = "allwinner,sunxi-g2d";
			reg = <0x0 0x45410000 0x0 0xbffff>;
			interrupts-extended = <&plic0 90 IRQ_TYPE_LEVEL_HIGH>;
			clocks = <&ccu CLK_G2D>, <&ccu CLK_BUS_G2D>, <&ccu CLK_MBUS_G2D>, <&ccu CLK_G2D_HB>,
					 <&ccu CLK_VID_OUT>, <&ccu CLK_MBUS_VID_OUT>;
			clock-names = "g2d", "bus", "mbus_g2d", "g2d_hb",
						  "vo", "mbus_vo";
			resets = <&ccu RST_BUS_G2D>, <&ccu RST_BUS_TCON>;
			reset-names = "rst_bus_g2d", "rst_bus_vo";
			assigned-clocks = <&ccu CLK_G2D>;
			assigned-clock-rates = <154000000>;
			status = "okay";
		};

		/* audio dirver module -> audio codec */
		codec:codec@42030000 {
			#sound-dai-cells = <0>;
			compatible	= "allwinner,sunxi-snd-codec";
			reg		= <0x0 0x42030000 0x0 0x348>;
			resets		= <&ccu RST_BUS_AUDIO>;
			clocks		= <&ccu CLK_BUS_ADDA>,
					  <&ccu CLK_PLL_AUDIO_1X>,
					  <&ccu CLK_AUDIO_DAC>,
					  <&ccu CLK_AUDIO_ADC>;
			clock-names	= "clk_bus_adda",
					  "clk_pll_audio_1x",
					  "clk_audio_dac",
					  "clk_audio_adc";
			status = "disabled";
		};

		codec_plat:codec_plat {
			#sound-dai-cells = <0>;
			compatible	= "allwinner,sunxi-snd-plat-aaudio";
			dac-txdata	= <0x42030020>;
			adc-txdata	= <0x42030040>;
			dmas		= <&dma 7>, <&dma 7>;
			dma-names	= "tx", "rx";
			playback-cma	= <128>;
			capture-cma	= <128>;
			tx-fifo-size	= <128>;
			rx-fifo-size	= <128>;
			status = "disabled";
		};

		codec_mach:codec_mach {
			compatible = "allwinner,sunxi-snd-mach";
			soundcard-mach,name		= "audiocodec";
			soundcard-mach,pin-switches	= "MIC", "LINEOUT","SPK";
			soundcard-mach,routing		= "MICP_PIN", "MIC",
							  "MICN_PIN", "MIC",
							  "LINEOUT", "LINEOUTP_PIN",
							  "LINEOUT", "LINEOUTN_PIN",
							  "SPK", "LINEOUTP_PIN",
							  "SPK", "LINEOUTN_PIN";
			soundcard-mach,jack-support = <0>;
			status = "disabled";
			soundcard-mach,cpu {
				sound-dai = <&codec_plat>;
			};
			soundcard-mach,codec {
				sound-dai = <&codec>;
				soundcard-mach,pll-fs	= <1>;
			};
		};

		/* audio dirver module -> I2S/PCM */
		i2s0_plat:i2s0_plat@42032000 {
			#sound-dai-cells = <0>;
			compatible = "allwinner,sunxi-snd-plat-i2s";
			reg		= <0x0 0x42032000 0x0 0x7C>;
			resets		= <&ccu RST_BUS_I2S0>;
			clocks		= <&ccu CLK_BUS_I2S0>,
					  <&ccu CLK_PLL_AUDIO_1X>,
					  <&ccu CLK_I2S0>;
			clock-names	= "clk_bus_i2s",
					  "clk_pll_audio_1x",
					  "clk_i2s";
			dmas		= <&dma 3>, <&dma 3>;
			dma-names	= "tx", "rx";
			playback-cma	= <128>;
			capture-cma	= <128>;
			tx-fifo-size	= <128>;
			rx-fifo-size	= <128>;
			status = "disabled";
		};

		i2s0_mach:i2s0_mach{
			compatible = "allwinner,sunxi-snd-mach";
			soundcard-mach,name		= "sndi2s0";
			soundcard-mach,format		= "i2s";
			soundcard-mach,slot-num		= <2>;
			soundcard-mach,slot-width	= <32>;
			status = "disabled";
			soundcard-mach,cpu {
				sound-dai = <&i2s0_plat>;
			};
			soundcard-mach,codec {
			};
		};
		soc_pmu0: soc_pmu0@4A000800 {
			compatible = "sunxi-soc-pmu,V821";
			device_type = "sunxi-soc-pmu";
			status = "disabled";
			reg = <0x0 0x4A000800 0x0 0x94>;

			pmu_soc_ldo1: ldo1 {
				regulator-name = "ldo1";
				regulator-min-microvolt = <2250000>;
				regulator-max-microvolt = <3000000>;
				regulator-enable-ramp-delay = <1000>;
			};
		};

		lcd_fb0: lcd_fb0@0 {
			compatible = "allwinner,sunxi-lcd_fb0";
			pinctrl-names = "active","sleep";
			status = "disabled";
		};

		wakeup_io: wakeup_io {
			compatible = "allwinner,sunxi_wupio";
			gprcm_reg = <0x0 0x4a000000 0x0 0x20>;
			interrupts-extended = <&plic0 171 IRQ_TYPE_LEVEL_HIGH>;
			wakeup-source;
			status = "disabled";
			wakeup_pins {
				wakeup_pin1:wakeup-pin@1 {
					/* gpio_info = <&rtc_pio PL 01 GPIO_ACTIVE_LOW>; */
					/* edge_mode = "positive"; */
					/* clk_src = <0>; */
					/* debounce_us  = <2500000>; */
				};
			};
		};
	};
};
